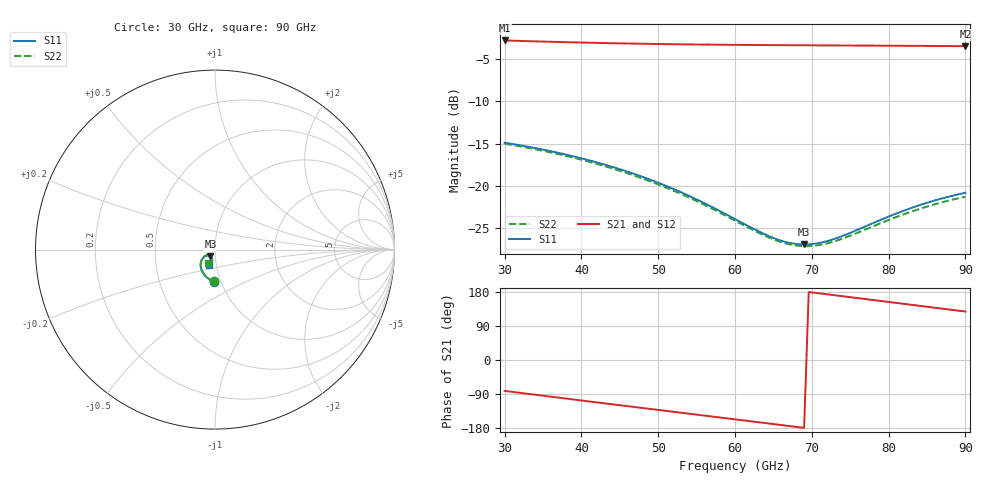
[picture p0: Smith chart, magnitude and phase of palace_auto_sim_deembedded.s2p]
! Created with skrf 1.11.0 (http://scikit-rf.org).
# GHz S DB R 50.0
!freq dBS11 angS11 dBS21 angS21 dBS12 angS12 dBS22 angS22
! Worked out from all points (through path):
!   101 points, 30 GHz to 90 GHz, reference 50 ohm
!   highest |S21| = -2.77 dB at 30 GHz (marker M1); lowest = -3.4 dB at 90 GHz (marker M2)
!   group delay of S21, straight-line fit = 6.95 ps
!   lowest |S11| = -27.0 dB at 69 GHz (marker M3), VSWR 1.09, Z = 47.4 - j3.53 ohm
!   |S11| at or under -10 dB: start of sweep to end of sweep
!   |S22| runs from -27.2 to -15.0 dB; largest |S21 - S12| = 1.2e-12
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30  -14.90 -91.4  -2.77 -81.5  -2.77 -81.5  -15.01 -91.8
32.4  -15.27 -98.1  -2.84 -87.6  -2.84 -87.6  -15.39 -98.6
34.8  -15.68 -104.6  -2.90 -93.7  -2.90 -93.7  -15.82 -105.1
37.2  -16.14 -110.8  -2.95 -99.8  -2.95 -99.8  -16.29 -111.4
40.2  -16.79 -118.2  -3.02 -107.3  -3.02 -107.3  -16.96 -119.0
45  -18.04 -129.0  -3.11 -119.3  -3.11 -119.3  -18.22 -130.0
47.4  -18.76 -133.8  -3.15 -125.3  -3.15 -125.3  -18.95 -134.9
50.4  -19.79 -139.0  -3.20 -132.7  -3.20 -132.7  -19.98 -140.2
55.2  -21.71 -144.9  -3.25 -144.7  -3.25 -144.7  -21.90 -146.4
57.6  -22.80 -146.1  -3.27 -150.6  -3.27 -150.6  -22.99 -147.8
60  -23.95 -145.7  -3.29 -156.6  -3.29 -156.6  -24.13 -147.6
63  -25.37 -142.0  -3.31 -164.1  -3.31 -164.1  -25.54 -144.3
65.4  -26.32 -136.3  -3.33 -170.1  -3.33 -170.1  -26.49 -139.0
67.2  -26.79 -130.5  -3.34 -174.6  -3.34 -174.6  -26.97 -133.6
69  -26.96 -124.1  -3.34 -179.1  -3.34 -179.1  -27.16 -127.5
70.2  -26.90 -119.8  -3.35 177.9  -3.35 177.9  -27.12 -123.4
72  -26.56 -114.0  -3.36 173.3  -3.36 173.3  -26.83 -117.9
73.8  -26.02 -109.4  -3.37 168.8  -3.37 168.8  -26.33 -113.5
76.8  -24.89 -104.9  -3.38 161.2  -3.38 161.2  -25.26 -109.1
80.4  -23.51 -103.7  -3.40 152.2  -3.40 152.2  -23.92 -108.0
85.2  -21.96 -106.8  -3.42 140.0  -3.42 140.0  -22.41 -111.2
90  -20.84 -112.8  -3.45 127.9  -3.45 127.9  -21.31 -117.4
